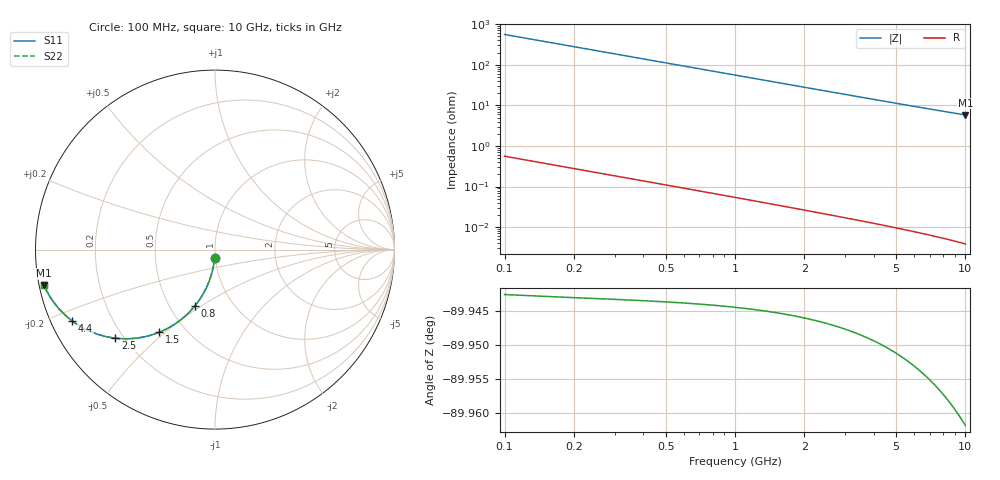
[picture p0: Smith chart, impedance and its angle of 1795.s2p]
# Hz S RI R 50.00
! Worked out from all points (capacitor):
!   100 points, 100 MHz to 10 GHz, reference 50 ohm
!   read as one part in shunt: C = 2.85 pF near 100 MHz
!   lowest |Z| = 5.82 ohm at 10 GHz (marker M1)
!   S11 on the Smith chart (normalised r, x): 100 MHz: 0.99, -0.09; 800 MHz: 0.66, -0.47; 1.5 GHz: 0.36, -0.48; 2.5 GHz: 0.17, -0.37; 4.4 GHz: 0.06, -0.24; 10 GHz: 0.01, -0.10
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1e8  -0.00196 -0.0445  0.9979 -0.0448  0.9979 -0.0448  -0.00196 -0.0445
2e8  -0.00795 -0.0885  0.9919 -0.089  0.9919 -0.089  -0.00795 -0.0885
3e8  -0.0178 -0.1315  0.9821 -0.1322  0.9821 -0.1322  -0.0178 -0.1315
4e8  -0.0311 -0.1729  0.9687 -0.1739  0.9687 -0.1739  -0.0311 -0.1729
5e8  -0.0478 -0.2124  0.952 -0.2136  0.952 -0.2136  -0.0478 -0.2124
6e8  -0.0674 -0.2496  0.9324 -0.251  0.9324 -0.251  -0.0674 -0.2496
8e8  -0.1138 -0.3162  0.8861 -0.3181  0.8861 -0.3181  -0.1138 -0.3162
9e8  -0.1398 -0.3452  0.8601 -0.3474  0.8601 -0.3474  -0.1398 -0.3452
1.1e9  -0.1952 -0.3946  0.8046 -0.3972  0.8046 -0.3972  -0.1952 -0.3946
1.3e9  -0.253 -0.4328  0.7468 -0.4358  0.7468 -0.4358  -0.253 -0.4328
1.5e9  -0.3108 -0.4606  0.689 -0.4641  0.689 -0.4641  -0.3108 -0.4606
1.8e9  -0.3936 -0.4859  0.6062 -0.4902  0.6062 -0.4902  -0.3936 -0.4859
2.1e9  -0.4691 -0.496  0.5307 -0.501  0.5307 -0.501  -0.4691 -0.496
2.5e9  -0.556 -0.4934  0.4438 -0.4993  0.4438 -0.4993  -0.556 -0.4934
2.9e9  -0.6276 -0.4795  0.3722 -0.4864  0.3722 -0.4864  -0.6276 -0.4795
3.4e9  -0.6985 -0.4543  0.3013 -0.4624  0.3013 -0.4624  -0.6985 -0.4543
3.9e9  -0.7531 -0.426  0.2467 -0.4353  0.2467 -0.4353  -0.7531 -0.426
4.4e9  -0.7952 -0.3977  0.2045 -0.4082  0.2045 -0.4082  -0.7952 -0.3977
5.1e9  -0.8393 -0.3605  0.1604 -0.3727  0.1604 -0.3727  -0.8393 -0.3605
6.7e9  -0.9004 -0.2906  0.0992 -0.3067  0.0992 -0.3067  -0.9004 -0.2906
8.4e9  -0.9346 -0.2362  0.065 -0.2565  0.065 -0.2565  -0.9346 -0.2362
1e10  -0.9532 -0.1979  0.0463 -0.2224  0.0463 -0.2224  -0.9532 -0.1979
